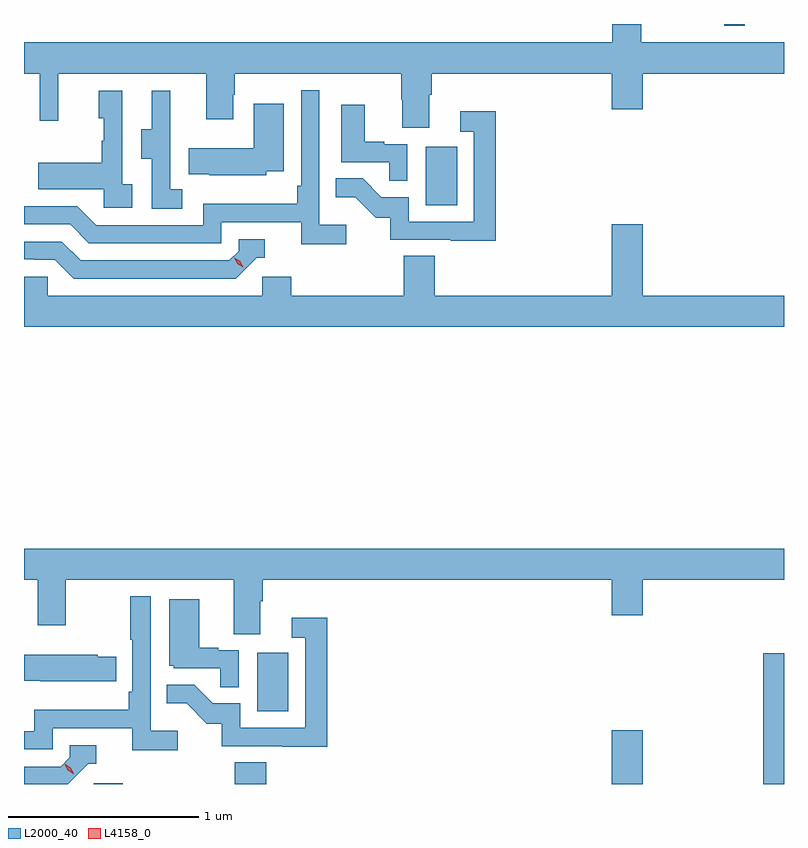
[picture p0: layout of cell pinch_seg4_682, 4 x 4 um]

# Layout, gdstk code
import gdstk
lib = gdstk.Library(unit=1e-6, precision=1e-09)
def R(c, l, rs):  # rectangles x0, y0, x1, y1
    for r in rs: c.add(gdstk.rectangle(r[:2], r[2:], *l))
def P(c, l, *ps):  # polygons
    for p in ps: c.add(gdstk.Polygon(p, *l))
L2000_40 = (2000, 40)
L4158_0 = (4158, 0)

pinch_seg4_682 = lib.new_cell('pinch_seg4_682')
R(pinch_seg4_682, L2000_40, [(1139.304,765.109,1139.456,765.114), (1140.047,765.109,1140.212,765.224), (1142.03,765.109,1142.194,765.391), (1142.828,765.109,1142.937,765.796), (1140.164,765.492,1140.328,765.799), (1141.052,768.156,1141.216,768.463), (1142.622,769.101,1142.731,769.109)])
P(pinch_seg4_682, L2000_40, [(1141.069,768.736),(1141.082,768.736),(1141.082,768.848),(1142.03,768.848),(1142.03,768.66),(1142.194,768.66),(1142.194,768.848),(1142.937,768.848),(1142.937,769.012),(1142.185,769.012),(1142.185,769.109),(1142.033,769.109),(1142.033,769.012),(1138.937,769.012),(1138.937,768.848),(1139.019,768.848),(1139.019,768.6),(1139.117,768.6),(1139.117,768.848),(1139.897,768.848),(1139.897,768.609),(1140.037,768.609),(1140.037,768.737),(1140.045,768.737),(1140.045,768.848),(1140.922,768.848),(1140.922,768.711),(1140.929,768.711),(1140.929,768.562),(1141.069,768.562)],
  [(1140.634,768.052),(1140.492,768.052),(1140.492,768.76),(1140.396,768.76),(1140.396,768.259),(1140.376,768.259),(1140.376,768.163),(1139.88,768.163),(1139.88,768.051),(1139.316,768.051),(1139.217,768.15),(1138.937,768.15),(1138.937,768.054),(1139.18,768.054),(1139.279,767.955),(1139.976,767.955),(1139.976,768.066),(1140.395,768.066),(1140.395,767.95),(1140.634,767.95)],
  [(1139.506,768.266),(1139.454,768.266),(1139.454,768.757),(1139.33,768.757),(1139.33,768.612),(1139.356,768.612),(1139.356,768.494),(1139.346,768.494),(1139.346,768.379),(1139.011,768.379),(1139.011,768.239),(1139.358,768.239),(1139.358,768.141),(1139.506,768.141)],
  [(1139.77,768.239),(1139.706,768.239),(1139.706,768.543),(1139.708,768.543),(1139.708,768.757),(1139.609,768.757),(1139.609,768.555),(1139.555,768.555),(1139.555,768.4),(1139.61,768.4),(1139.61,768.136),(1139.77,768.136)],
  [(1140.213,768.335),(1140.304,768.335),(1140.304,768.688),(1140.146,768.688),(1140.146,768.454),(1139.803,768.454),(1139.803,768.317),(1139.911,768.317),(1139.911,768.314),(1140.213,768.314)],
  [(1140.954,768.477),(1140.833,768.477),(1140.833,768.49),(1140.73,768.49),(1140.73,768.685),(1140.608,768.685),(1140.608,768.381),(1140.859,768.381),(1140.859,768.283),(1140.954,768.283)],
  [(1141.421,768.649),(1141.233,768.649),(1141.233,768.543),(1141.305,768.543),(1141.305,768.069),(1140.963,768.069),(1140.963,768.198),(1140.818,768.198),(1140.72,768.296),(1140.577,768.296),(1140.577,768.197),(1140.681,768.197),(1140.788,768.09),(1140.865,768.09),(1140.865,767.973),(1141.183,767.973),(1141.183,767.968),(1141.421,767.968)],
  [(1142.937,767.68),(1142.194,767.68),(1142.194,768.055),(1142.03,768.055),(1142.03,767.68),(1141.1,767.68),(1141.1,767.888),(1140.935,767.888),(1140.935,767.68),(1140.344,767.68),(1140.344,767.778),(1140.192,767.778),(1140.192,767.68),(1139.061,767.68),(1139.061,767.778),(1138.937,767.778),(1138.937,767.516),(1142.937,767.516)],
  [(1140.162,767.88),(1140.205,767.88),(1140.205,767.976),(1140.066,767.976),(1140.066,767.913),(1140.018,767.865),(1139.235,767.865),(1139.136,767.964),(1138.937,767.964),(1138.937,767.871),(1138.992,767.871),(1138.992,767.868),(1139.099,767.868),(1139.198,767.769),(1140.051,767.769)],
  [(1138.937,766.184),(1139.009,766.184),(1139.009,765.945),(1139.157,765.945),(1139.157,766.184),(1140.041,766.184),(1140.041,765.898),(1140.181,765.898),(1140.181,766.072),(1140.194,766.072),(1140.194,766.184),(1142.03,766.184),(1142.03,765.996),(1142.194,765.996),(1142.194,766.184),(1142.937,766.184),(1142.937,766.348),(1138.937,766.348)],
  [(1139.746,765.388),(1139.604,765.388),(1139.604,766.096),(1139.496,766.096),(1139.496,765.868),(1139.508,765.868),(1139.508,765.595),(1139.488,765.595),(1139.488,765.499),(1138.992,765.499),(1138.992,765.387),(1138.937,765.387),(1138.937,765.291),(1139.088,765.291),(1139.088,765.402),(1139.507,765.402),(1139.507,765.286),(1139.746,765.286)],
  [(1140.066,765.813),(1139.96,765.813),(1139.96,765.826),(1139.86,765.826),(1139.86,766.081),(1139.702,766.081),(1139.702,765.732),(1139.724,765.732),(1139.724,765.717),(1139.971,765.717),(1139.971,765.619),(1140.066,765.619)],
  [(1140.533,765.985),(1140.345,765.985),(1140.345,765.879),(1140.417,765.879),(1140.417,765.405),(1140.075,765.405),(1140.075,765.534),(1139.931,765.534),(1139.833,765.632),(1139.689,765.632),(1139.689,765.533),(1139.793,765.533),(1139.9,765.426),(1139.977,765.426),(1139.977,765.309),(1140.295,765.309),(1140.295,765.304),(1140.533,765.304)],
  [(1139.423,765.78),(1139.325,765.78),(1139.325,765.79),(1138.937,765.79),(1138.937,765.653),(1139.023,765.653),(1139.023,765.65),(1139.423,765.65)],
  [(1139.274,765.216),(1139.317,765.216),(1139.317,765.312),(1139.178,765.312),(1139.178,765.249),(1139.13,765.201),(1138.937,765.201),(1138.937,765.109),(1139.167,765.109)])
P(pinch_seg4_682, L4158_0, [(1139.199,765.161),(1139.168,765.181),(1139.152,765.214),(1139.152,765.214),(1139.153,765.214),(1139.183,765.194),(1139.199,765.161),(1139.199,765.161)],
  [(1140.09,767.828),(1140.06,767.847),(1140.043,767.88),(1140.043,767.88),(1140.044,767.88),(1140.074,767.861),(1140.09,767.828),(1140.09,767.828)])

lib.write_gds('pinch_seg4_682.gds')
